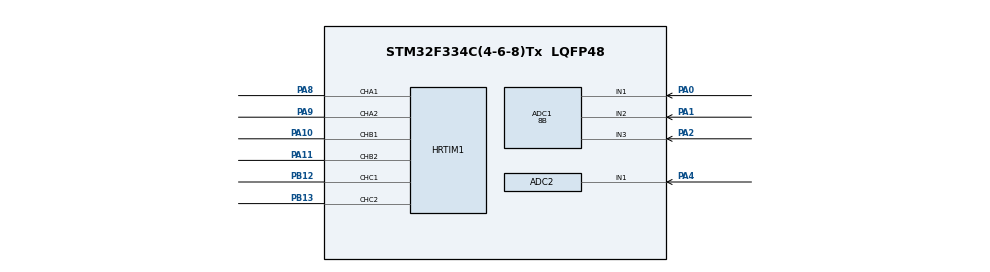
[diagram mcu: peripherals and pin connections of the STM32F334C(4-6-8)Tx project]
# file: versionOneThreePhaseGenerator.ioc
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ADC1.Channel-1\#ChannelRegularConversion=ADC_CHANNEL_1
ADC1.Channel-2\#ChannelRegularConversion=ADC_CHANNEL_2
ADC1.Channel-3\#ChannelRegularConversion=ADC_CHANNEL_3
ADC1.EOCSelection=ADC_EOC_SINGLE_CONV
ADC1.EnableInjectedConversion=DISABLE
ADC1.ExternalTrigConv=ADC_EXTERNALTRIGCONVHRTIM_TRG1
ADC1.NbrOfConversion=3
ADC1.NbrOfConversionFlag=1
ADC1.Offset-1\#ChannelRegularConversion=0
ADC1.Offset-2\#ChannelRegularConversion=0
ADC1.Offset-3\#ChannelRegularConversion=0
ADC1.OffsetNumber-1\#ChannelRegularConversion=ADC_OFFSET_NONE
ADC1.OffsetNumber-2\#ChannelRegularConversion=ADC_OFFSET_NONE
ADC1.OffsetNumber-3\#ChannelRegularConversion=ADC_OFFSET_NONE
ADC1.Rank-1\#ChannelRegularConversion=1
ADC1.Rank-2\#ChannelRegularConversion=2
ADC1.Rank-3\#ChannelRegularConversion=3
ADC1.Resolution=ADC_RESOLUTION_8B
ADC1.SamplingTime-1\#ChannelRegularConversion=ADC_SAMPLETIME_1CYCLE_5
ADC1.SamplingTime-2\#ChannelRegularConversion=ADC_SAMPLETIME_1CYCLE_5
ADC1.SamplingTime-3\#ChannelRegularConversion=ADC_SAMPLETIME_1CYCLE_5
ADC1.SamplingTimeOPAMP-2\#ChannelRegularConversion=ADC_SAMPLETIME_61CYCLES_5
ADC1.SamplingTimeOPAMP-3\#ChannelRegularConversion=ADC_SAMPLETIME_61CYCLES_5
ADC1.SubFamily=STM32F334x8
ADC1.master=1
ADC2.Channel-0\#ChannelRegularConversion=ADC_CHANNEL_1
ADC2.EnableInjectedConversion=DISABLE
ADC2.NbrOfConversionFlag=1
ADC2.Offset-0\#ChannelRegularConversion=0
ADC2.OffsetNumber-0\#ChannelRegularConversion=ADC_OFFSET_NONE
ADC2.Rank-0\#ChannelRegularConversion=1
ADC2.Resolution=ADC_RESOLUTION_10B
ADC2.SamplingTime-0\#ChannelRegularConversion=ADC_SAMPLETIME_601CYCLES_5
ADC2.SamplingTimeOPAMP-0\#ChannelRegularConversion=ADC_SAMPLETIME_61CYCLES_5
ADC2.SubFamily=STM32F334x8
HRTIM1.ADCTrigger1_Source1=HRTIM_ADCTRIGGEREVENT13_MASTER_CMP1
HRTIM1.ADCTrigger_Id1=HRTIM_ADCTRIGGER_1
HRTIM1.CompareUnit1-MasterTimer=HRTIM_COMPAREUNIT_1
HRTIM1.CompareUnit1-Output_TA1TA2=HRTIM_COMPAREUNIT_1
HRTIM1.CompareUnit1-Output_TB1TB2=HRTIM_COMPAREUNIT_1
HRTIM1.CompareUnit1-Output_TC1TC2=HRTIM_COMPAREUNIT_1
HRTIM1.CompareValue1-Output_TA1TA2=TA_START
HRTIM1.CompareValue1-Output_TB1TB2=TB_START
HRTIM1.CompareValue1-Output_TC1TC2=TC_START
HRTIM1.Configuration_TA=Waveform
HRTIM1.DeadTimeInsertion-Output_TA1TA2=HRTIM_TIMDEADTIMEINSERTION_ENABLED
HRTIM1.DeadTimeInsertion-Output_TB1TB2=HRTIM_TIMDEADTIMEINSERTION_ENABLED
HRTIM1.DeadTimeInsertion-Output_TC1TC2=HRTIM_TIMDEADTIMEINSERTION_ENABLED
HRTIM1.EnableCalibration=DLLSimpleCalibration
HRTIM1.Event_EEV1=__NULL
HRTIM1.FallingValue-Output_TA1TA2=DT_FALLING
HRTIM1.FallingValue-Output_TB1TB2=DT_FALLING
HRTIM1.FallingValue-Output_TC1TC2=DT_FALLING
HRTIM1.HalfModeEnable-MasterTimer=HRTIM_HALFMODE_ENABLED
HRTIM1.NumberADCTriggerSource1=1
HRTIM1.NumberResetSource1-Output_TA1TA2=1
HRTIM1.NumberResetSource1-Output_TB1TB2=1
HRTIM1.NumberResetSource1-Output_TC1TC2=1
HRTIM1.NumberSetSource1-Output_TA1TA2=1
HRTIM1.NumberSetSource1-Output_TB1TB2=1
HRTIM1.NumberSetSource1-Output_TC1TC2=1
HRTIM1.NumberUpdateTrigger-Output_TA1TA2=0
HRTIM1.NumberUpdateTrigger-Output_TC1TC2=0
HRTIM1.Periode_MASTER=HRTIM_PERIOD
HRTIM1.Periode_TA=HRTIM_PERIOD
HRTIM1.Periode_TB=HRTIM_PERIOD
HRTIM1.Periode_TC=HRTIM_PERIOD
HRTIM1.PreloadEnable-MasterTimer=HRTIM_PRELOAD_ENABLED
HRTIM1.PreloadEnable-Output_TA1TA2=HRTIM_PRELOAD_ENABLED
HRTIM1.PreloadEnable-Output_TB1TB2=HRTIM_PRELOAD_ENABLED
HRTIM1.PreloadEnable-Output_TC1TC2=HRTIM_PRELOAD_ENABLED
HRTIM1.PrescalerDead-Output_TA1TA2=HRTIM_TIMDEADTIME_PRESCALERRATIO_DIV1
HRTIM1.PrescalerDead-Output_TB1TB2=HRTIM_TIMDEADTIME_PRESCALERRATIO_DIV1
HRTIM1.PrescalerDead-Output_TC1TC2=HRTIM_TIMDEADTIME_PRESCALERRATIO_DIV1
HRTIM1.PrescalerRatio_MASTER=HRTIM_PRESCALERRATIO_MUL4
HRTIM1.PrescalerRatio_TA=HRTIM_PRESCALERRATIO_MUL4
HRTIM1.PrescalerRatio_TB=HRTIM_PRESCALERRATIO_MUL4
HRTIM1.PrescalerRatio_TC=HRTIM_PRESCALERRATIO_MUL4
HRTIM1.RepetitionUpdate-MasterTimer=HRTIM_UPDATEONREPETITION_ENABLED
HRTIM1.RepetitionUpdate-Output_TA1TA2=HRTIM_UPDATEONREPETITION_ENABLED
HRTIM1.RepetitionUpdate-Output_TB1TB2=HRTIM_UPDATEONREPETITION_ENABLED
HRTIM1.RepetitionUpdate-Output_TC1TC2=HRTIM_UPDATEONREPETITION_ENABLED
HRTIM1.ResetOutput1_Source1-Output_TA1TA2=HRTIM_OUTPUTRESET_TIMCMP1
HRTIM1.ResetOutput1_Source1-Output_TB1TB2=HRTIM_OUTPUTRESET_TIMCMP1
HRTIM1.ResetOutput1_Source1-Output_TC1TC2=HRTIM_OUTPUTRESET_TIMCMP1
HRTIM1.ResetUpdate-Output_TA1TA2=HRTIM_TIMUPDATEONRESET_DISABLED
HRTIM1.ResetUpdate-Output_TC1TC2=HRTIM_TIMUPDATEONRESET_DISABLED
HRTIM1.RisingValue-Output_TA1TA2=DT_RISING
HRTIM1.RisingValue-Output_TB1TB2=DT_RISING
HRTIM1.RisingValue-Output_TC1TC2=DT_RISING
HRTIM1.SetOutput1_Source1-Output_TA1TA2=HRTIM_OUTPUTSET_TIMPER
HRTIM1.SetOutput1_Source1-Output_TB1TB2=HRTIM_OUTPUTSET_TIMPER
HRTIM1.SetOutput1_Source1-Output_TC1TC2=HRTIM_OUTPUTSET_TIMPER
Mcu.Family=STM32F3
Mcu.Name=STM32F334C(4-6-8)Tx
Mcu.Package=LQFP48
Mcu.UserConstants=TB_START,0x2000;HRTIM_PERIOD,0x8000;TC_START,0x3000;TA_START,0x1000;DT_RISING,80;DT_FALLING,80
NVIC.HRTIM1_Master_IRQn=true\:0\:0\:false\:false\:true\:true\:true\:true
NVIC.PriorityGroup=NVIC_PRIORITYGROUP_0
NVIC.TIM6_DAC1_IRQn=true\:0\:0\:false\:false\:true\:true\:true\:true
PA0.Mode=IN1-Single-Ended
PA0.Signal=ADC1_IN1
PA1.Mode=IN2-Single-Ended
PA1.Signal=ADC1_IN2
PA10.Mode=Output_TB1TB2
PA10.Signal=HRTIM1_CHB1
PA11.Mode=Output_TB1TB2
PA11.Signal=HRTIM1_CHB2
PA13.GPIO_Label=SWDIO
PA13.Mode=Serial_Wire
PA13.Signal=SYS_JTMS-SWDIO
PA14.GPIO_Label=SWCLK
PA14.Mode=Serial_Wire
PA14.Signal=SYS_JTCK-SWCLK
PA2.Mode=IN3-Single-Ended
PA2.Signal=ADC1_IN3
PA4.Mode=IN1-Single-Ended
PA4.Signal=ADC2_IN1
PA8.GPIO_Speed_High_Default=GPIO_SPEED_FREQ_HIGH
PA8.Mode=Output_TA1TA2
PA8.Signal=HRTIM1_CHA1
PA9.Mode=Output_TA1TA2
PA9.Signal=HRTIM1_CHA2
PB12.Mode=Output_TC1TC2
PB12.Signal=HRTIM1_CHC1
PB13.Mode=Output_TC1TC2
PB13.Signal=HRTIM1_CHC2
ProjectManager.HeapSize=0x200
ProjectManager.StackSize=0x400
ProjectManager.TargetToolchain=STM32CubeIDE
RCC.AHBFreq_Value=64000000
RCC.APB1CLKDivider=RCC_HCLK_DIV2
RCC.APB1Freq_Value=32000000
RCC.APB1TimFreq_Value=64000000
RCC.APB2Freq_Value=64000000
RCC.APB2TimFreq_Value=64000000
RCC.CortexFreq_Value=64000000
RCC.HCLKFreq_Value=64000000
RCC.HRTIMSelection=RCC_HRTIM1CLK_PLLCLK
RCC.HSE_VALUE=8000000
RCC.HSI_VALUE=8000000
RCC.LSE_VALUE=32768
RCC.PLLMUL=RCC_PLL_MUL16
RCC.SYSCLKFreq_VALUE=64000000
RCC.SYSCLKSourceVirtual=RCC_SYSCLKSOURCE_PLLCLK
TIM6.AutoReloadPreload=TIM_AUTORELOAD_PRELOAD_ENABLE
TIM6.Prescaler=64
TIM6.TIM_MasterOutputTrigger=TIM_TRGO_UPDATE
VP_HRTIM1_VS_hrtimMasterTimerNoOutput.Mode=MasterTimer
VP_TIM6_VS_ClockSourceINT.Mode=Enable_Timer
board=STM32F3348-DISCO

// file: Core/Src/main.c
/* USER CODE BEGIN Header */
/**
  ******************************************************************************
  * @file           : main.c
  * @brief          : Main program body
  ******************************************************************************
  * @attention
  *
  * Copyright (c) 2025 STMicroelectronics.
  * All rights reserved.
  *
  * This software is licensed under terms that can be found in the LICENSE file
  * in the root directory of this software component.
  * If no LICENSE file comes with this software, it is provided AS-IS.
  *
  ******************************************************************************
  */
/* USER CODE END Header */
#include "main.h"

/* USER CODE BEGIN Includes */
#include <math.h>
/* USER CODE END Includes */

/* USER CODE BEGIN PD */
// these defines are for the sine table and 3 phase output
#define SINE_SAMPLES		128           // samples per sine wave
#define SINE_SAMPLE_MIN_VAR	((uint16_t)(DT_RISING+0))
#define SINE_SAMPLE_MAX_VAR	((uint16_t)(HRTIM_PERIOD-(DT_FALLING+0)))
#define OUTPUT_FREQ_MIN		1				// minimum output frequency
#define OUTPUT_FREQ_MAX		400				// maximum output frequency
#define OUTPUT_FREQ_DEF		10				// default output frequency
#define OUTPUT_SCALING_DEF	((float)1.0)	// default output scaling

// these defines handle the input voltage to frequency conversion
#define SPEED_BUTTON_ALPHA		((float)0.1)
#define SPEED_BUTTON_BETA		((float)10)
#define SPEED_BUTTON_MIN		((float)0.1)
#define SPEED_BUTTON_MAX		((float)3.2)
/* USER CODE END PD */

/* USER CODE BEGIN PV */

// Single sine lookup table (0-100% as 16-bit values scaled to HRTIM_PERIOD)
static volatile uint16_t sine_table[SINE_SAMPLES];

// this controls the phasing
static volatile uint8_t sample_index_a = 0;   // Phase A: 0°
static volatile uint8_t sample_index_b = 43;  // Phase B: 120° (64/3 = 21.33 ≈ 21)
static volatile uint8_t sample_index_c = 85;  // Phase C: 240° (64*2/3 = 42.67 ≈ 43)
static volatile uint32_t sine_frequency;			// requested output sine frequency
static volatile float outputScalingFactor = 0.1;	// requested output sine amplitude

// ADC results buffer
static volatile uint16_t adc_results[3]; // Phase A, B, C current readings

/* USER CODE END PV */

void SystemClock_Config(void);
static void MX_GPIO_Init(void);
static void MX_HRTIM1_Init(void);
static void MX_ADC1_Init(void);
static void MX_TIM6_Init(void);
static void MX_ADC2_Init(void);
/* USER CODE BEGIN PFP */
void generateSineTables(void);
void updatePWMValues(void);
void setOutputScaling(float amplitude_proportional);
void setSineFrequency(uint32_t freq_hz);
/* USER CODE END PFP */

/* USER CODE BEGIN 0 */

/**
 * @brief Initialize single sine lookup table
 * checked
 */
void generateSineTables(void) {
	float step = (2.0 * M_PI) / SINE_SAMPLES;
    for (int i = 0; i < SINE_SAMPLES; i++) {
    	float x = i * step;
    	float sine_val = sinf(x);
    	float range = outputScalingFactor*((float)SINE_SAMPLE_MAX_VAR - (float)SINE_SAMPLE_MIN_VAR);
    	sine_table[i] = (uint16_t)(((sine_val + (float)1.0) / (float)2.0) * range) + SINE_SAMPLE_MIN_VAR;
    }
}

/**
 * @brief Set sine wave output frequency (10-100 Hz)
 */
void setSineFrequency(uint32_t freq_hz) {
    if (freq_hz < OUTPUT_FREQ_MIN) freq_hz = OUTPUT_FREQ_MIN;
    if (freq_hz > OUTPUT_FREQ_MAX) freq_hz = OUTPUT_FREQ_MAX;

    sine_frequency = freq_hz;

    /* Update TIM6 period for new frequency */
    uint32_t new_period = (1000000UL / (sine_frequency * SINE_SAMPLES)) - 1;
    LL_TIM_SetAutoReload(TIM6, new_period);
}

void setOutputScaling(float amplitude_proportional) {
	// set the new value
	// regenerate the table, to keep processing time small in the IRQ
	outputScalingFactor = amplitude_proportional;
	generateSineTables();
}

/**
 * @brief Update PWM compare values from single sine table (synchronized)
 * checked
 */
void updatePWMValues(void) {
    /* Disable preload to prevent updates during write sequence */
	LL_HRTIM_SuspendUpdate(HRTIM1, LL_HRTIM_TIMER_A | LL_HRTIM_TIMER_B | LL_HRTIM_TIMER_C);

    /* Update all three timers using phase-shifted indices */
    LL_HRTIM_TIM_SetCompare1(HRTIM1, LL_HRTIM_TIMER_A, sine_table[sample_index_a]);
    LL_HRTIM_TIM_SetCompare1(HRTIM1, LL_HRTIM_TIMER_B, sine_table[sample_index_b]);
    LL_HRTIM_TIM_SetCompare1(HRTIM1, LL_HRTIM_TIMER_C, sine_table[sample_index_c]);

    /* Trigger synchronized update for all timers */
    LL_HRTIM_ResumeUpdate(HRTIM1, LL_HRTIM_TIMER_A | LL_HRTIM_TIMER_B | LL_HRTIM_TIMER_C);

    /* Advance all phase indices */
    sample_index_a++;
    sample_index_a = sample_index_a % SINE_SAMPLES;
    //if (sample_index_a >= SINE_SAMPLES) sample_index_a = 0;

    sample_index_b++;
    sample_index_b = sample_index_b % SINE_SAMPLES;
    //if (sample_index_b >= SINE_SAMPLES) sample_index_b = 0;

    sample_index_c++;
    sample_index_c = sample_index_c % SINE_SAMPLES;
    //if (sample_index_c >= SINE_SAMPLES) sample_index_c = 0;
}

/* USER CODE END 0 */

int main(void)
{

  /* MCU Configuration--------------------------------------------------------*/

  /* Reset of all peripherals, Initializes the Flash interface and the Systick. */
  LL_APB2_GRP1_EnableClock(LL_APB2_GRP1_PERIPH_SYSCFG);
  LL_APB1_GRP1_EnableClock(LL_APB1_GRP1_PERIPH_PWR);

  /* System interrupt init*/
  NVIC_SetPriorityGrouping(NVIC_PRIORITYGROUP_0);

  /* Configure the system clock */
  SystemClock_Config();

  /* Initialize all configured peripherals */
  MX_GPIO_Init();
  MX_HRTIM1_Init();
  MX_ADC1_Init();
  MX_TIM6_Init();
  MX_ADC2_Init();
  /* USER CODE BEGIN 2 */

  // fill up the sine table and everything else we need
  generateSineTables();

  // start all HRTIM channels and enable outputs
  LL_HRTIM_EnableOutput(HRTIM1, LL_HRTIM_OUTPUT_TA1 | LL_HRTIM_OUTPUT_TA2);
  LL_HRTIM_EnableOutput(HRTIM1, LL_HRTIM_OUTPUT_TB1 | LL_HRTIM_OUTPUT_TB2);
  LL_HRTIM_EnableOutput(HRTIM1, LL_HRTIM_OUTPUT_TC1 | LL_HRTIM_OUTPUT_TC2);
  LL_HRTIM_ForceUpdate(HRTIM1, LL_HRTIM_TIMER_MASTER | LL_HRTIM_TIMER_A | LL_HRTIM_TIMER_B | LL_HRTIM_TIMER_C);
  LL_HRTIM_TIM_CounterEnable(HRTIM1, LL_HRTIM_TIMER_MASTER | LL_HRTIM_TIMER_A | LL_HRTIM_TIMER_B | LL_HRTIM_TIMER_C);

  // start TIM6
  setSineFrequency(OUTPUT_FREQ_DEF);
  setOutputScaling(OUTPUT_SCALING_DEF);

  LL_TIM_ClearFlag_UPDATE(TIM6);
  LL_TIM_EnableIT_UPDATE(TIM6);
  LL_TIM_EnableCounter(TIM6);

  // start the first ADC2 conversion
  LL_ADC_REG_StartConversion(ADC2);
  /* USER CODE END 2 */

  /* Infinite loop */
  /* USER CODE BEGIN WHILE */
  float adcSpeedButton = 0.00;
  while (1)
  {
    /* USER CODE END WHILE */

    /* USER CODE BEGIN 3 */
	  // start a new ADC read for the user input
	  if(!LL_ADC_REG_IsConversionOngoing(ADC2)) {
		  // get the data and add it to the new value
		  float tempValue = (float)3.3*((float)LL_ADC_REG_ReadConversionData10(ADC2)/(float)1024);
		  if(SPEED_BUTTON_MIN > tempValue) {
			  tempValue = 0;
		  }
		  if(tempValue > SPEED_BUTTON_MAX) {
			  tempValue = SPEED_BUTTON_MAX;
		  }
		  adcSpeedButton = (tempValue*(1/SPEED_BUTTON_BETA)) + adcSpeedButton*(1.0-(1.0/SPEED_BUTTON_BETA));
		  LL_ADC_REG_StartConversion(ADC2);

		  // set the new frequency
		  uint16_t freqNew =(uint16_t)((float)(OUTPUT_FREQ_MAX-OUTPUT_FREQ_MIN)*adcSpeedButton/(SPEED_BUTTON_MAX)) + OUTPUT_FREQ_MIN;
		  setSineFrequency(freqNew);
	  }
  }
  /* USER CODE END 3 */
}

void SystemClock_Config(void)
{
  LL_FLASH_SetLatency(LL_FLASH_LATENCY_2);
  while(LL_FLASH_GetLatency()!= LL_FLASH_LATENCY_2)
  {
  }
  LL_RCC_HSI_Enable();

   /* Wait till HSI is ready */
  while(LL_RCC_HSI_IsReady() != 1)
  {

  }
  LL_RCC_HSI_SetCalibTrimming(16);
  LL_RCC_PLL_ConfigDomain_SYS(LL_RCC_PLLSOURCE_HSI_DIV_2, LL_RCC_PLL_MUL_16);
  LL_RCC_PLL_Enable();

   /* Wait till PLL is ready */
  while(LL_RCC_PLL_IsReady() != 1)
  {

  }
  LL_RCC_SetAHBPrescaler(LL_RCC_SYSCLK_DIV_1);
  LL_RCC_SetAPB1Prescaler(LL_RCC_APB1_DIV_2);
  LL_RCC_SetAPB2Prescaler(LL_RCC_APB2_DIV_1);
  LL_RCC_SetSysClkSource(LL_RCC_SYS_CLKSOURCE_PLL);

   /* Wait till System clock is ready */
  while(LL_RCC_GetSysClkSource() != LL_RCC_SYS_CLKSOURCE_STATUS_PLL)
  {

  }
  LL_Init1msTick(64000000);
  LL_SetSystemCoreClock(64000000);
  LL_RCC_SetHRTIMClockSource(RCC_CFGR3_HRTIM1SW_PLL);
  LL_RCC_SetADCClockSource(LL_RCC_ADC12_CLKSRC_PLL_DIV_1);
}

static void MX_ADC1_Init(void)
{

  LL_ADC_InitTypeDef ADC_InitStruct = {0};
  LL_ADC_REG_InitTypeDef ADC_REG_InitStruct = {0};
  LL_ADC_CommonInitTypeDef ADC_CommonInitStruct = {0};

  LL_GPIO_InitTypeDef GPIO_InitStruct = {0};

  /* Peripheral clock enable */
  LL_AHB1_GRP1_EnableClock(LL_AHB1_GRP1_PERIPH_ADC12);

  LL_AHB1_GRP1_EnableClock(LL_AHB1_GRP1_PERIPH_GPIOA);
  /**ADC1 GPIO Configuration
  PA0   ------> ADC1_IN1
  PA1   ------> ADC1_IN2
  PA2   ------> ADC1_IN3
  */
  GPIO_InitStruct.Pin = LL_GPIO_PIN_0|LL_GPIO_PIN_1|LL_GPIO_PIN_2;
  GPIO_InitStruct.Mode = LL_GPIO_MODE_ANALOG;
  GPIO_InitStruct.Pull = LL_GPIO_PULL_NO;
  LL_GPIO_Init(GPIOA, &GPIO_InitStruct);

  /** Common config
  */
  ADC_InitStruct.Resolution = LL_ADC_RESOLUTION_8B;
  ADC_InitStruct.DataAlignment = LL_ADC_DATA_ALIGN_RIGHT;
  ADC_InitStruct.LowPowerMode = LL_ADC_LP_MODE_NONE;
  LL_ADC_Init(ADC1, &ADC_InitStruct);
  ADC_REG_InitStruct.TriggerSource = LL_ADC_REG_TRIG_EXT_HRTIM_TRG1;
  ADC_REG_InitStruct.SequencerLength = LL_ADC_REG_SEQ_SCAN_ENABLE_3RANKS;
  ADC_REG_InitStruct.SequencerDiscont = LL_ADC_REG_SEQ_DISCONT_DISABLE;
  ADC_REG_InitStruct.ContinuousMode = LL_ADC_REG_CONV_SINGLE;
  ADC_REG_InitStruct.DMATransfer = LL_ADC_REG_DMA_TRANSFER_LIMITED;
  ADC_REG_InitStruct.Overrun = LL_ADC_REG_OVR_DATA_OVERWRITTEN;
  LL_ADC_REG_Init(ADC1, &ADC_REG_InitStruct);
  ADC_CommonInitStruct.CommonClock = LL_ADC_CLOCK_ASYNC_DIV1;
  ADC_CommonInitStruct.Multimode = LL_ADC_MULTI_INDEPENDENT;
  LL_ADC_CommonInit(__LL_ADC_COMMON_INSTANCE(ADC1), &ADC_CommonInitStruct);
  LL_ADC_REG_SetTriggerEdge(ADC1, LL_ADC_REG_TRIG_EXT_RISING);

  /* Enable ADC internal voltage regulator */
  LL_ADC_EnableInternalRegulator(ADC1);
  /* Delay for ADC internal voltage regulator stabilization. */
  /* Compute number of CPU cycles to wait for, from delay in us. */
  /* Note: Variable divided by 2 to compensate partially */
  /* CPU processing cycles (depends on compilation optimization). */
  /* Note: If system core clock frequency is below 200kHz, wait time */
  /* is only a few CPU processing cycles. */
  uint32_t wait_loop_index;
  wait_loop_index = ((LL_ADC_DELAY_INTERNAL_REGUL_STAB_US * (SystemCoreClock / (100000 * 2))) / 10);
  while(wait_loop_index != 0)
  {
    wait_loop_index--;
  }

  /** Configure Regular Channel
  */
  LL_ADC_REG_SetSequencerRanks(ADC1, LL_ADC_REG_RANK_1, LL_ADC_CHANNEL_1);
  LL_ADC_SetChannelSamplingTime(ADC1, LL_ADC_CHANNEL_1, LL_ADC_SAMPLINGTIME_1CYCLE_5);
  LL_ADC_SetChannelSingleDiff(ADC1, LL_ADC_CHANNEL_1, LL_ADC_SINGLE_ENDED);

  /** Configure Regular Channel
  */
  LL_ADC_REG_SetSequencerRanks(ADC1, LL_ADC_REG_RANK_2, LL_ADC_CHANNEL_2);
  LL_ADC_SetChannelSamplingTime(ADC1, LL_ADC_CHANNEL_2, LL_ADC_SAMPLINGTIME_1CYCLE_5);
  LL_ADC_SetChannelSingleDiff(ADC1, LL_ADC_CHANNEL_2, LL_ADC_SINGLE_ENDED);

  /** Configure Regular Channel
  */
  LL_ADC_REG_SetSequencerRanks(ADC1, LL_ADC_REG_RANK_3, LL_ADC_CHANNEL_3);
  LL_ADC_SetChannelSamplingTime(ADC1, LL_ADC_CHANNEL_3, LL_ADC_SAMPLINGTIME_1CYCLE_5);
  LL_ADC_SetChannelSingleDiff(ADC1, LL_ADC_CHANNEL_3, LL_ADC_SINGLE_ENDED);

}

static void MX_ADC2_Init(void)
{

  LL_ADC_InitTypeDef ADC_InitStruct = {0};
  LL_ADC_REG_InitTypeDef ADC_REG_InitStruct = {0};

  LL_GPIO_InitTypeDef GPIO_InitStruct = {0};

  /* Peripheral clock enable */
  LL_AHB1_GRP1_EnableClock(LL_AHB1_GRP1_PERIPH_ADC12);

  LL_AHB1_GRP1_EnableClock(LL_AHB1_GRP1_PERIPH_GPIOA);
  /**ADC2 GPIO Configuration
  PA4   ------> ADC2_IN1
  */
  GPIO_InitStruct.Pin = LL_GPIO_PIN_4;
  GPIO_InitStruct.Mode = LL_GPIO_MODE_ANALOG;
  GPIO_InitStruct.Pull = LL_GPIO_PULL_NO;
  LL_GPIO_Init(GPIOA, &GPIO_InitStruct);

  /** Common config
  */
  ADC_InitStruct.Resolution = LL_ADC_RESOLUTION_10B;
  ADC_InitStruct.DataAlignment = LL_ADC_DATA_ALIGN_RIGHT;
  ADC_InitStruct.LowPowerMode = LL_ADC_LP_MODE_NONE;
  LL_ADC_Init(ADC2, &ADC_InitStruct);
  ADC_REG_InitStruct.TriggerSource = LL_ADC_REG_TRIG_SOFTWARE;
  ADC_REG_InitStruct.SequencerLength = LL_ADC_REG_SEQ_SCAN_DISABLE;
  ADC_REG_InitStruct.SequencerDiscont = LL_ADC_REG_SEQ_DISCONT_DISABLE;
  ADC_REG_InitStruct.ContinuousMode = LL_ADC_REG_CONV_SINGLE;
  ADC_REG_InitStruct.DMATransfer = LL_ADC_REG_DMA_TRANSFER_LIMITED;
  ADC_REG_InitStruct.Overrun = LL_ADC_REG_OVR_DATA_OVERWRITTEN;
  LL_ADC_REG_Init(ADC2, &ADC_REG_InitStruct);

  /* Enable ADC internal voltage regulator */
  LL_ADC_EnableInternalRegulator(ADC2);
  /* Delay for ADC internal voltage regulator stabilization. */
  /* Compute number of CPU cycles to wait for, from delay in us. */
  /* Note: Variable divided by 2 to compensate partially */
  /* CPU processing cycles (depends on compilation optimization). */
  /* Note: If system core clock frequency is below 200kHz, wait time */
  /* is only a few CPU processing cycles. */
  uint32_t wait_loop_index;
  wait_loop_index = ((LL_ADC_DELAY_INTERNAL_REGUL_STAB_US * (SystemCoreClock / (100000 * 2))) / 10);
  while(wait_loop_index != 0)
  {
    wait_loop_index--;
  }

  /** Configure Regular Channel
  */
  LL_ADC_REG_SetSequencerRanks(ADC2, LL_ADC_REG_RANK_1, LL_ADC_CHANNEL_1);
  LL_ADC_SetChannelSamplingTime(ADC2, LL_ADC_CHANNEL_1, LL_ADC_SAMPLINGTIME_601CYCLES_5);
  LL_ADC_SetChannelSingleDiff(ADC2, LL_ADC_CHANNEL_1, LL_ADC_SINGLE_ENDED);
  /* USER CODE BEGIN ADC2_Init 2 */
  LL_ADC_StartCalibration(ADC2, LL_ADC_SINGLE_ENDED);
  while(LL_ADC_IsCalibrationOnGoing(ADC2)) {
	  //TODO - add time-out
  }
  LL_ADC_Enable(ADC2);
  /* USER CODE END ADC2_Init 2 */

}

static void MX_HRTIM1_Init(void)
{

  LL_GPIO_InitTypeDef GPIO_InitStruct = {0};

  /* Peripheral clock enable */
  LL_APB2_GRP1_EnableClock(LL_APB2_GRP1_PERIPH_HRTIM1);

  /* HRTIM1 interrupt Init */
  NVIC_SetPriority(HRTIM1_Master_IRQn, NVIC_EncodePriority(NVIC_GetPriorityGrouping(),0, 0));
  NVIC_EnableIRQ(HRTIM1_Master_IRQn);

  LL_HRTIM_ConfigDLLCalibration(HRTIM1, LL_HRTIM_DLLCALIBRATION_MODE_CONTINUOUS, LL_HRTIM_DLLCALIBRATION_RATE_14);

  /* Poll for DLL end of calibration */
#if (USE_TIMEOUT == 1)
  uint32_t Timeout = 10; /* Timeout Initialization */
#endif  /*USE_TIMEOUT*/

  while(LL_HRTIM_IsActiveFlag_DLLRDY(HRTIM1) == RESET){
#if (USE_TIMEOUT == 1)
    if (LL_SYSTICK_IsActiveCounterFlag())  /* Check Systick counter flag to decrement the time-out value */
    {
        if(Timeout-- == 0)
        {
          Error_Handler();  /* error management */
        }
    }
#endif  /* USE_TIMEOUT */
  }

  LL_HRTIM_ConfigADCTrig(HRTIM1, LL_HRTIM_ADCTRIG_1, LL_HRTIM_ADCTRIG_UPDATE_MASTER, LL_HRTIM_ADCTRIG_SRC13_MCMP1);
  LL_HRTIM_TIM_SetPrescaler(HRTIM1, LL_HRTIM_TIMER_MASTER, LL_HRTIM_PRESCALERRATIO_MUL4);
  LL_HRTIM_TIM_SetCounterMode(HRTIM1, LL_HRTIM_TIMER_MASTER, LL_HRTIM_MODE_CONTINUOUS);
  LL_HRTIM_TIM_SetPeriod(HRTIM1, LL_HRTIM_TIMER_MASTER, HRTIM_PERIOD);
  LL_HRTIM_TIM_SetRepetition(HRTIM1, LL_HRTIM_TIMER_MASTER, 0x00);
  LL_HRTIM_TIM_EnableHalfMode(HRTIM1, LL_HRTIM_TIMER_MASTER);
  LL_HRTIM_TIM_DisableStartOnSync(HRTIM1, LL_HRTIM_TIMER_MASTER);
  LL_HRTIM_TIM_DisableResetOnSync(HRTIM1, LL_HRTIM_TIMER_MASTER);
  LL_HRTIM_TIM_SetDACTrig(HRTIM1, LL_HRTIM_TIMER_MASTER, LL_HRTIM_DACTRIG_NONE);
  LL_HRTIM_TIM_EnablePreload(HRTIM1, LL_HRTIM_TIMER_MASTER);
  LL_HRTIM_TIM_SetUpdateGating(HRTIM1, LL_HRTIM_TIMER_MASTER, LL_HRTIM_UPDATEGATING_INDEPENDENT);
  LL_HRTIM_TIM_SetUpdateTrig(HRTIM1, LL_HRTIM_TIMER_MASTER, LL_HRTIM_UPDATETRIG_REPETITION);
  LL_HRTIM_TIM_SetBurstModeOption(HRTIM1, LL_HRTIM_TIMER_MASTER, LL_HRTIM_BURSTMODE_MAINTAINCLOCK);
  LL_HRTIM_ForceUpdate(HRTIM1, LL_HRTIM_TIMER_MASTER);

  /* Poll for DLL end of calibration */
#if (USE_TIMEOUT == 1)
  uint32_t Timeout = 10; /* Timeout Initialization */
#endif  /*USE_TIMEOUT*/

  while(LL_HRTIM_IsActiveFlag_DLLRDY(HRTIM1) == RESET){
#if (USE_TIMEOUT == 1)
    if (LL_SYSTICK_IsActiveCounterFlag())  /* Check Systick counter flag to decrement the time-out value */
    {
        if(Timeout-- == 0)
        {
          Error_Handler();  /* error management */
        }
    }
#endif  /* USE_TIMEOUT */
  }

  LL_HRTIM_TIM_SetPrescaler(HRTIM1, LL_HRTIM_TIMER_A, LL_HRTIM_PRESCALERRATIO_MUL4);
  LL_HRTIM_TIM_SetCounterMode(HRTIM1, LL_HRTIM_TIMER_A, LL_HRTIM_MODE_CONTINUOUS);
  LL_HRTIM_TIM_SetPeriod(HRTIM1, LL_HRTIM_TIMER_A, HRTIM_PERIOD);
  LL_HRTIM_TIM_SetRepetition(HRTIM1, LL_HRTIM_TIMER_A, 0x00);
  LL_HRTIM_TIM_SetDACTrig(HRTIM1, LL_HRTIM_TIMER_A, LL_HRTIM_DACTRIG_NONE);
  LL_HRTIM_TIM_DisableHalfMode(HRTIM1, LL_HRTIM_TIMER_A);
  LL_HRTIM_TIM_DisableStartOnSync(HRTIM1, LL_HRTIM_TIMER_A);
  LL_HRTIM_TIM_DisableResetOnSync(HRTIM1, LL_HRTIM_TIMER_A);
  LL_HRTIM_TIM_EnablePreload(HRTIM1, LL_HRTIM_TIMER_A);
  LL_HRTIM_TIM_SetUpdateGating(HRTIM1, LL_HRTIM_TIMER_A, LL_HRTIM_UPDATEGATING_INDEPENDENT);
  LL_HRTIM_TIM_SetUpdateTrig(HRTIM1, LL_HRTIM_TIMER_A, LL_HRTIM_UPDATETRIG_NONE|LL_HRTIM_UPDATETRIG_REPETITION);
  LL_HRTIM_TIM_SetResetTrig(HRTIM1, LL_HRTIM_TIMER_A, LL_HRTIM_RESETTRIG_NONE);
  LL_HRTIM_TIM_DisablePushPullMode(HRTIM1, LL_HRTIM_TIMER_A);
  LL_HRTIM_TIM_EnableDeadTime(HRTIM1, LL_HRTIM_TIMER_A);
  LL_HRTIM_TIM_SetBurstModeOption(HRTIM1, LL_HRTIM_TIMER_A, LL_HRTIM_BURSTMODE_MAINTAINCLOCK);
  LL_HRTIM_ForceUpdate(HRTIM1, LL_HRTIM_TIMER_A);
  LL_HRTIM_TIM_SetCompare1(HRTIM1, LL_HRTIM_TIMER_A, TA_START);
  LL_HRTIM_DT_SetPrescaler(HRTIM1, LL_HRTIM_TIMER_A, LL_HRTIM_DT_PRESCALER_DIV1);
  LL_HRTIM_DT_SetRisingValue(HRTIM1, LL_HRTIM_TIMER_A, DT_RISING);
  LL_HRTIM_DT_SetRisingSign(HRTIM1, LL_HRTIM_TIMER_A, LL_HRTIM_DT_RISING_POSITIVE);
  LL_HRTIM_DT_SetFallingValue(HRTIM1, LL_HRTIM_TIMER_A, DT_FALLING);
  LL_HRTIM_DT_SetFallingSign(HRTIM1, LL_HRTIM_TIMER_A, LL_HRTIM_DT_FALLING_POSITIVE);
  LL_HRTIM_OUT_SetPolarity(HRTIM1, LL_HRTIM_OUTPUT_TA1, LL_HRTIM_OUT_POSITIVE_POLARITY);
  LL_HRTIM_OUT_SetOutputSetSrc(HRTIM1, LL_HRTIM_OUTPUT_TA1, LL_HRTIM_CROSSBAR_TIMPER);
  LL_HRTIM_OUT_SetOutputResetSrc(HRTIM1, LL_HRTIM_OUTPUT_TA1, LL_HRTIM_CROSSBAR_TIMCMP1);
  LL_HRTIM_OUT_SetIdleMode(HRTIM1, LL_HRTIM_OUTPUT_TA1, LL_HRTIM_OUT_NO_IDLE);
  LL_HRTIM_OUT_SetIdleLevel(HRTIM1, LL_HRTIM_OUTPUT_TA1, LL_HRTIM_OUT_IDLELEVEL_INACTIVE);
  LL_HRTIM_OUT_SetFaultState(HRTIM1, LL_HRTIM_OUTPUT_TA1, LL_HRTIM_OUT_FAULTSTATE_NO_ACTION);
  LL_HRTIM_OUT_SetChopperMode(HRTIM1, LL_HRTIM_OUTPUT_TA1, LL_HRTIM_OUT_CHOPPERMODE_DISABLED);
  LL_HRTIM_OUT_SetPolarity(HRTIM1, LL_HRTIM_OUTPUT_TA2, LL_HRTIM_OUT_POSITIVE_POLARITY);
  LL_HRTIM_OUT_SetOutputSetSrc(HRTIM1, LL_HRTIM_OUTPUT_TA2, LL_HRTIM_CROSSBAR_NONE);
  LL_HRTIM_OUT_SetOutputResetSrc(HRTIM1, LL_HRTIM_OUTPUT_TA2, LL_HRTIM_CROSSBAR_NONE);
  LL_HRTIM_OUT_SetIdleMode(HRTIM1, LL_HRTIM_OUTPUT_TA2, LL_HRTIM_OUT_NO_IDLE);
  LL_HRTIM_OUT_SetIdleLevel(HRTIM1, LL_HRTIM_OUTPUT_TA2, LL_HRTIM_OUT_IDLELEVEL_INACTIVE);
  LL_HRTIM_OUT_SetFaultState(HRTIM1, LL_HRTIM_OUTPUT_TA2, LL_HRTIM_OUT_FAULTSTATE_NO_ACTION);
  LL_HRTIM_OUT_SetChopperMode(HRTIM1, LL_HRTIM_OUTPUT_TA2, LL_HRTIM_OUT_CHOPPERMODE_DISABLED);

  /* Poll for DLL end of calibration */
#if (USE_TIMEOUT == 1)
  uint32_t Timeout = 10; /* Timeout Initialization */
#endif  /*USE_TIMEOUT*/

  while(LL_HRTIM_IsActiveFlag_DLLRDY(HRTIM1) == RESET){
#if (USE_TIMEOUT == 1)
    if (LL_SYSTICK_IsActiveCounterFlag())  /* Check Systick counter flag to decrement the time-out value */
    {
        if(Timeout-- == 0)
        {
          Error_Handler();  /* error management */
        }
    }
#endif  /* USE_TIMEOUT */
  }

  LL_HRTIM_TIM_SetPrescaler(HRTIM1, LL_HRTIM_TIMER_B, LL_HRTIM_PRESCALERRATIO_MUL4);
  LL_HRTIM_TIM_SetCounterMode(HRTIM1, LL_HRTIM_TIMER_B, LL_HRTIM_MODE_CONTINUOUS);
  LL_HRTIM_TIM_SetPeriod(HRTIM1, LL_HRTIM_TIMER_B, HRTIM_PERIOD);
  LL_HRTIM_TIM_SetRepetition(HRTIM1, LL_HRTIM_TIMER_B, 0x00);
  LL_HRTIM_TIM_SetDACTrig(HRTIM1, LL_HRTIM_TIMER_B, LL_HRTIM_DACTRIG_NONE);
  LL_HRTIM_TIM_DisableHalfMode(HRTIM1, LL_HRTIM_TIMER_B);
  LL_HRTIM_TIM_DisableStartOnSync(HRTIM1, LL_HRTIM_TIMER_B);
  LL_HRTIM_TIM_DisableResetOnSync(HRTIM1, LL_HRTIM_TIMER_B);
  LL_HRTIM_TIM_EnablePreload(HRTIM1, LL_HRTIM_TIMER_B);
  LL_HRTIM_TIM_SetUpdateGating(HRTIM1, LL_HRTIM_TIMER_B, LL_HRTIM_UPDATEGATING_INDEPENDENT);
  LL_HRTIM_TIM_SetUpdateTrig(HRTIM1, LL_HRTIM_TIMER_B, LL_HRTIM_UPDATETRIG_NONE|LL_HRTIM_UPDATETRIG_REPETITION);
  LL_HRTIM_TIM_SetResetTrig(HRTIM1, LL_HRTIM_TIMER_B, LL_HRTIM_RESETTRIG_NONE);
  LL_HRTIM_TIM_DisablePushPullMode(HRTIM1, LL_HRTIM_TIMER_B);
  LL_HRTIM_TIM_EnableDeadTime(HRTIM1, LL_HRTIM_TIMER_B);
  LL_HRTIM_TIM_SetBurstModeOption(HRTIM1, LL_HRTIM_TIMER_B, LL_HRTIM_BURSTMODE_MAINTAINCLOCK);
  LL_HRTIM_ForceUpdate(HRTIM1, LL_HRTIM_TIMER_B);
  LL_HRTIM_TIM_SetCompare1(HRTIM1, LL_HRTIM_TIMER_B, TB_START);
  LL_HRTIM_DT_SetPrescaler(HRTIM1, LL_HRTIM_TIMER_B, LL_HRTIM_DT_PRESCALER_DIV1);
  LL_HRTIM_DT_SetRisingValue(HRTIM1, LL_HRTIM_TIMER_B, DT_RISING);
  LL_HRTIM_DT_SetRisingSign(HRTIM1, LL_HRTIM_TIMER_B, LL_HRTIM_DT_RISING_POSITIVE);
  LL_HRTIM_DT_SetFallingValue(HRTIM1, LL_HRTIM_TIMER_B, DT_FALLING);
  LL_HRTIM_DT_SetFallingSign(HRTIM1, LL_HRTIM_TIMER_B, LL_HRTIM_DT_FALLING_POSITIVE);
  LL_HRTIM_OUT_SetPolarity(HRTIM1, LL_HRTIM_OUTPUT_TB1, LL_HRTIM_OUT_POSITIVE_POLARITY);
  LL_HRTIM_OUT_SetOutputSetSrc(HRTIM1, LL_HRTIM_OUTPUT_TB1, LL_HRTIM_CROSSBAR_TIMPER);
  LL_HRTIM_OUT_SetOutputResetSrc(HRTIM1, LL_HRTIM_OUTPUT_TB1, LL_HRTIM_CROSSBAR_TIMCMP1);
  LL_HRTIM_OUT_SetIdleMode(HRTIM1, LL_HRTIM_OUTPUT_TB1, LL_HRTIM_OUT_NO_IDLE);
  LL_HRTIM_OUT_SetIdleLevel(HRTIM1, LL_HRTIM_OUTPUT_TB1, LL_HRTIM_OUT_IDLELEVEL_INACTIVE);
  LL_HRTIM_OUT_SetFaultState(HRTIM1, LL_HRTIM_OUTPUT_TB1, LL_HRTIM_OUT_FAULTSTATE_NO_ACTION);
  LL_HRTIM_OUT_SetChopperMode(HRTIM1, LL_HRTIM_OUTPUT_TB1, LL_HRTIM_OUT_CHOPPERMODE_DISABLED);
  LL_HRTIM_OUT_SetPolarity(HRTIM1, LL_HRTIM_OUTPUT_TB2, LL_HRTIM_OUT_POSITIVE_POLARITY);
  LL_HRTIM_OUT_SetOutputSetSrc(HRTIM1, LL_HRTIM_OUTPUT_TB2, LL_HRTIM_CROSSBAR_NONE);
  LL_HRTIM_OUT_SetOutputResetSrc(HRTIM1, LL_HRTIM_OUTPUT_TB2, LL_HRTIM_CROSSBAR_NONE);
  LL_HRTIM_OUT_SetIdleMode(HRTIM1, LL_HRTIM_OUTPUT_TB2, LL_HRTIM_OUT_NO_IDLE);
  LL_HRTIM_OUT_SetIdleLevel(HRTIM1, LL_HRTIM_OUTPUT_TB2, LL_HRTIM_OUT_IDLELEVEL_INACTIVE);
  LL_HRTIM_OUT_SetFaultState(HRTIM1, LL_HRTIM_OUTPUT_TB2, LL_HRTIM_OUT_FAULTSTATE_NO_ACTION);
  LL_HRTIM_OUT_SetChopperMode(HRTIM1, LL_HRTIM_OUTPUT_TB2, LL_HRTIM_OUT_CHOPPERMODE_DISABLED);

  /* Poll for DLL end of calibration */
#if (USE_TIMEOUT == 1)
  uint32_t Timeout = 10; /* Timeout Initialization */
#endif  /*USE_TIMEOUT*/

  while(LL_HRTIM_IsActiveFlag_DLLRDY(HRTIM1) == RESET){
#if (USE_TIMEOUT == 1)
    if (LL_SYSTICK_IsActiveCounterFlag())  /* Check Systick counter flag to decrement the time-out value */
    {
        if(Timeout-- == 0)
        {
          Error_Handler();  /* error management */
        }
    }
#endif  /* USE_TIMEOUT */
  }

  LL_HRTIM_TIM_SetPrescaler(HRTIM1, LL_HRTIM_TIMER_C, LL_HRTIM_PRESCALERRATIO_MUL4);
  LL_HRTIM_TIM_SetCounterMode(HRTIM1, LL_HRTIM_TIMER_C, LL_HRTIM_MODE_CONTINUOUS);
  LL_HRTIM_TIM_SetPeriod(HRTIM1, LL_HRTIM_TIMER_C, HRTIM_PERIOD);
  LL_HRTIM_TIM_SetRepetition(HRTIM1, LL_HRTIM_TIMER_C, 0x00);
  LL_HRTIM_TIM_SetDACTrig(HRTIM1, LL_HRTIM_TIMER_C, LL_HRTIM_DACTRIG_NONE);
  LL_HRTIM_TIM_DisableHalfMode(HRTIM1, LL_HRTIM_TIMER_C);
  LL_HRTIM_TIM_DisableStartOnSync(HRTIM1, LL_HRTIM_TIMER_C);
  LL_HRTIM_TIM_DisableResetOnSync(HRTIM1, LL_HRTIM_TIMER_C);
  LL_HRTIM_TIM_EnablePreload(HRTIM1, LL_HRTIM_TIMER_C);
  LL_HRTIM_TIM_SetUpdateGating(HRTIM1, LL_HRTIM_TIMER_C, LL_HRTIM_UPDATEGATING_INDEPENDENT);
  LL_HRTIM_TIM_SetUpdateTrig(HRTIM1, LL_HRTIM_TIMER_C, LL_HRTIM_UPDATETRIG_NONE|LL_HRTIM_UPDATETRIG_REPETITION);
  LL_HRTIM_TIM_SetResetTrig(HRTIM1, LL_HRTIM_TIMER_C, LL_HRTIM_RESETTRIG_NONE);
  LL_HRTIM_TIM_DisablePushPullMode(HRTIM1, LL_HRTIM_TIMER_C);
  LL_HRTIM_TIM_EnableDeadTime(HRTIM1, LL_HRTIM_TIMER_C);
  LL_HRTIM_TIM_SetBurstModeOption(HRTIM1, LL_HRTIM_TIMER_C, LL_HRTIM_BURSTMODE_MAINTAINCLOCK);
  LL_HRTIM_ForceUpdate(HRTIM1, LL_HRTIM_TIMER_C);
  LL_HRTIM_TIM_SetCompare1(HRTIM1, LL_HRTIM_TIMER_C, TC_START);
  LL_HRTIM_DT_SetPrescaler(HRTIM1, LL_HRTIM_TIMER_C, LL_HRTIM_DT_PRESCALER_DIV1);
  LL_HRTIM_DT_SetRisingValue(HRTIM1, LL_HRTIM_TIMER_C, DT_RISING);
  LL_HRTIM_DT_SetRisingSign(HRTIM1, LL_HRTIM_TIMER_C, LL_HRTIM_DT_RISING_POSITIVE);
  LL_HRTIM_DT_SetFallingValue(HRTIM1, LL_HRTIM_TIMER_C, DT_FALLING);
  LL_HRTIM_DT_SetFallingSign(HRTIM1, LL_HRTIM_TIMER_C, LL_HRTIM_DT_FALLING_POSITIVE);
  LL_HRTIM_OUT_SetPolarity(HRTIM1, LL_HRTIM_OUTPUT_TC1, LL_HRTIM_OUT_POSITIVE_POLARITY);
  LL_HRTIM_OUT_SetOutputSetSrc(HRTIM1, LL_HRTIM_OUTPUT_TC1, LL_HRTIM_CROSSBAR_TIMPER);
  LL_HRTIM_OUT_SetOutputResetSrc(HRTIM1, LL_HRTIM_OUTPUT_TC1, LL_HRTIM_CROSSBAR_TIMCMP1);
  LL_HRTIM_OUT_SetIdleMode(HRTIM1, LL_HRTIM_OUTPUT_TC1, LL_HRTIM_OUT_NO_IDLE);
  LL_HRTIM_OUT_SetIdleLevel(HRTIM1, LL_HRTIM_OUTPUT_TC1, LL_HRTIM_OUT_IDLELEVEL_INACTIVE);
  LL_HRTIM_OUT_SetFaultState(HRTIM1, LL_HRTIM_OUTPUT_TC1, LL_HRTIM_OUT_FAULTSTATE_NO_ACTION);
  LL_HRTIM_OUT_SetChopperMode(HRTIM1, LL_HRTIM_OUTPUT_TC1, LL_HRTIM_OUT_CHOPPERMODE_DISABLED);
  LL_HRTIM_OUT_SetPolarity(HRTIM1, LL_HRTIM_OUTPUT_TC2, LL_HRTIM_OUT_POSITIVE_POLARITY);
  LL_HRTIM_OUT_SetOutputSetSrc(HRTIM1, LL_HRTIM_OUTPUT_TC2, LL_HRTIM_CROSSBAR_NONE);
  LL_HRTIM_OUT_SetOutputResetSrc(HRTIM1, LL_HRTIM_OUTPUT_TC2, LL_HRTIM_CROSSBAR_NONE);
  LL_HRTIM_OUT_SetIdleMode(HRTIM1, LL_HRTIM_OUTPUT_TC2, LL_HRTIM_OUT_NO_IDLE);
  LL_HRTIM_OUT_SetIdleLevel(HRTIM1, LL_HRTIM_OUTPUT_TC2, LL_HRTIM_OUT_IDLELEVEL_INACTIVE);
  LL_HRTIM_OUT_SetFaultState(HRTIM1, LL_HRTIM_OUTPUT_TC2, LL_HRTIM_OUT_FAULTSTATE_NO_ACTION);
  LL_HRTIM_OUT_SetChopperMode(HRTIM1, LL_HRTIM_OUTPUT_TC2, LL_HRTIM_OUT_CHOPPERMODE_DISABLED);
  LL_AHB1_GRP1_EnableClock(LL_AHB1_GRP1_PERIPH_GPIOB);
  LL_AHB1_GRP1_EnableClock(LL_AHB1_GRP1_PERIPH_GPIOA);
  /**HRTIM1 GPIO Configuration
  PB12   ------> HRTIM1_CHC1
  PB13   ------> HRTIM1_CHC2
  PA8   ------> HRTIM1_CHA1
  PA9   ------> HRTIM1_CHA2
  PA10   ------> HRTIM1_CHB1
  PA11   ------> HRTIM1_CHB2
  */
  GPIO_InitStruct.Pin = LL_GPIO_PIN_12|LL_GPIO_PIN_13;
  GPIO_InitStruct.Mode = LL_GPIO_MODE_ALTERNATE;
  GPIO_InitStruct.Speed = LL_GPIO_SPEED_FREQ_HIGH;
  GPIO_InitStruct.OutputType = LL_GPIO_OUTPUT_PUSHPULL;
  GPIO_InitStruct.Pull = LL_GPIO_PULL_NO;
  GPIO_InitStruct.Alternate = LL_GPIO_AF_13;
  LL_GPIO_Init(GPIOB, &GPIO_InitStruct);

  GPIO_InitStruct.Pin = LL_GPIO_PIN_8|LL_GPIO_PIN_9|LL_GPIO_PIN_10|LL_GPIO_PIN_11;
  GPIO_InitStruct.Mode = LL_GPIO_MODE_ALTERNATE;
  GPIO_InitStruct.Speed = LL_GPIO_SPEED_FREQ_HIGH;
  GPIO_InitStruct.OutputType = LL_GPIO_OUTPUT_PUSHPULL;
  GPIO_InitStruct.Pull = LL_GPIO_PULL_NO;
  GPIO_InitStruct.Alternate = LL_GPIO_AF_13;
  LL_GPIO_Init(GPIOA, &GPIO_InitStruct);

}

static void MX_TIM6_Init(void)
{

  LL_TIM_InitTypeDef TIM_InitStruct = {0};

  /* Peripheral clock enable */
  LL_APB1_GRP1_EnableClock(LL_APB1_GRP1_PERIPH_TIM6);

  /* TIM6 interrupt Init */
  NVIC_SetPriority(TIM6_DAC1_IRQn, NVIC_EncodePriority(NVIC_GetPriorityGrouping(),0, 0));
  NVIC_EnableIRQ(TIM6_DAC1_IRQn);

  TIM_InitStruct.Prescaler = 64;
  TIM_InitStruct.CounterMode = LL_TIM_COUNTERMODE_UP;
  TIM_InitStruct.Autoreload = 65535;
  LL_TIM_Init(TIM6, &TIM_InitStruct);
  LL_TIM_EnableARRPreload(TIM6);
  LL_TIM_SetTriggerOutput(TIM6, LL_TIM_TRGO_UPDATE);
  LL_TIM_DisableMasterSlaveMode(TIM6);

}

static void MX_GPIO_Init(void)
{

  /* GPIO Ports Clock Enable */
  LL_AHB1_GRP1_EnableClock(LL_AHB1_GRP1_PERIPH_GPIOA);
  LL_AHB1_GRP1_EnableClock(LL_AHB1_GRP1_PERIPH_GPIOB);

}

void Error_Handler(void)
{
  __disable_irq();
  while (1)
  {
  }
}
